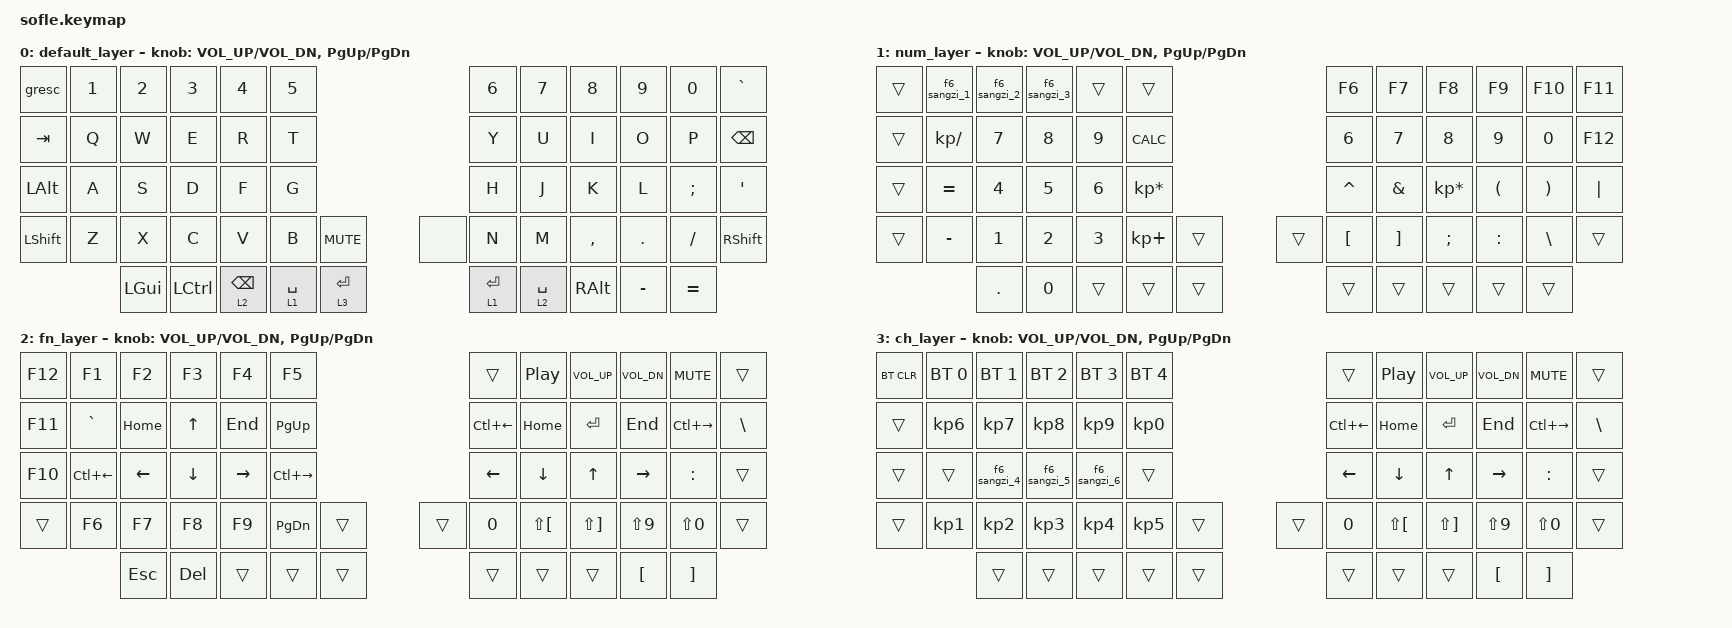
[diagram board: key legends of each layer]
/*
 * Copyright (c) 2020 The ZMK Contributors
 *
 * SPDX-License-Identifier: MIT
 */

#include <behaviors.dtsi>
#include <dt-bindings/zmk/keys.h>
#include <dt-bindings/zmk/bt.h>

&mt {
	quick-tap-ms = <200>;
	tapping-term-ms = <150>;
};

&lt {
	quick-tap-ms = <200>;
	tapping-term-ms = <150>;
};

/ {
    behaviors {
        pht: positional_hold_tap {
            compatible = "zmk,behavior-hold-tap";
            label = "POSITIONAL_HOLD_TAP";
            #binding-cells = <2>;
            flavor = "hold-preferred";
            tapping-term-ms = <400>;
            quick-tap-ms = <200>;
            bindings = <&kp>, <&kp>;
            hold-trigger-key-positions = <1>;
        };
        lh_pht: left_hand_positional_hold_tap {
            compatible = "zmk,behavior-hold-tap";
            label = "POSITIONAL_HOLD_TAP2";
            #binding-cells = <2>;
            flavor = "tap-unless-interrupted";
            tapping-term-ms = <100>;
            quick-tap-ms = <200>;
            bindings = <&kp>, <&kp>;
            hold-trigger-key-positions = <5 6 7 8 9 10>;
        };
        hm: homerow_mods {
            compatible = "zmk,behavior-hold-tap";
            label = "HOMEROW_MODS";
            #binding-cells = <2>;
            tapping-term-ms = <1000>;
            quick-tap-ms = <0>;
            flavor = "tap-preferred";
            bindings = <&kp>, <&kp>;
        };
        bhm: balanced_homerow_mods{
            compatible = "zmk,behavior-hold-tap";
            label = "HOMEROW_MODS";
            #binding-cells = <2>;
            tapping-term-ms = <1000>;
            quick-tap-ms = <0>;
            flavor = "balanced";
            bindings = <&kp>, <&kp>;
        };
        gresc: grave_escape {
            compatible = "zmk,behavior-mod-morph";
            label = "GRAVE_ESCAPE";
            #binding-cells = <0>;
            bindings = <&kp ESC>, <&kp TILDE>;
            mods = <(MOD_LSFT|MOD_RSFT)>;
        };
    };

    macros {
        zed_em_kay: zed_em_kay {
            label = "ZM_zed_em_kay";
            compatible = "zmk,behavior-macro";
            #binding-cells = <0>;
            bindings
                = <&macro_press &kp LSHFT>
                , <&macro_tap &kp Z &kp M &kp K>
                , <&macro_release &kp LSHFT>
                ;
        };
        f6_sangzi_1: f6_sangzi_1 {
            label = "f6_sangzi_1";
            compatible = "zmk,behavior-macro";
            #binding-cells = <0>;
            bindings
                = <&macro_wait_time 15>
                , <&macro_tap &kp KP_N1>
                , <&macro_tap &kp F6 &kp N3 &kp N1 &kp N5>
                , <&macro_wait_time 1700>
                , <&macro_tap &kp N2>
                , <&macro_tap &kp KP_N2>
                , <&macro_wait_time 15>
                ;
        };
        f6_sangzi_2: f6_sangzi_2 {
            label = "f6_sangzi_2";
            compatible = "zmk,behavior-macro";
            #binding-cells = <0>;
            bindings
                = <&macro_wait_time 15>
                , <&macro_tap &kp KP_N1>
                , <&macro_tap &kp F6 &kp N5 &kp N2 &kp N3>
                , <&macro_wait_time 1700>
                , <&macro_tap &kp N1>
                , <&macro_tap &kp KP_N2>
                , <&macro_wait_time 15>
                ;
        };
        f6_sangzi_3: f6_sangzi_3 {
            label = "f6_sangzi_3";
            compatible = "zmk,behavior-macro";
            #binding-cells = <0>;
            bindings
                = <&macro_wait_time 15>
                , <&macro_tap &kp KP_N1>
                , <&macro_tap &kp F6 &kp N2>
                , <&macro_wait_time 1700>
                , <&macro_tap &kp N4>
                , <&macro_tap &kp KP_N2>
                , <&macro_wait_time 15>
                ;
        };
        f6_sangzi_4: f6_sangzi_4 {
            label = "f6_sangzi_4";
            compatible = "zmk,behavior-macro";
            #binding-cells = <0>;
            bindings
                = <&macro_wait_time 15>
                , <&macro_tap &kp F6 &kp N3 &kp N1 &kp N5 &kp N2>
                ;
        };
        f6_sangzi_5: f6_sangzi_5 {
            label = "f6_sangzi_5";
            compatible = "zmk,behavior-macro";
            #binding-cells = <0>;
            bindings
                = <&macro_wait_time 15>
                , <&macro_tap &kp F6 &kp N5 &kp N2 &kp N3 &kp N1>
                ;
        };
        f6_sangzi_6: f6_sangzi_6 {
            label = "f6_sangzi_6";
            compatible = "zmk,behavior-macro";
            #binding-cells = <0>;
            bindings
                = <&macro_wait_time 15>
                , <&macro_tap &kp F6 &kp N2 &kp N4>
                ;
        };
    };

    keymap {
        compatible = "zmk,keymap";

        default_layer {
// ------------------------------------------------------------------------------------------------------------
// |  `    |  1  |  2  |  3   |  4   |  5   |                   |  6   |  7    |  8    |  9   |   0   |       |
// |  ESC  |  Q  |  W  |  E   |  R   |  T   |                   |  Y   |  U    |  I    |  O   |   P   | BKSPC |
// |  TAB  |  A  |  S  |  D   |  F   |  G   |                   |  H   |  J    |  K    |  L   |   ;   |   '   |
// | SHIFT |  Z  |  X  |  C   |  V   |  B   |  MUTE  |  |       |  N   |  M    |  ,    |  .   |   /   | SHIFT |
//               | GUI | ALT  | CTRL | LOWER|  ENTER |  | SPACE | RAISE| CTRL  | ALT   | GUI  |
            bindings = <
&gresc    &kp N1 &kp N2   &kp N3   &kp N4    &kp N5                             &kp N6 &kp N7    &kp N8    &kp N9   &kp N0   &kp GRAVE
&kp TAB   &kp Q  &kp W    &kp E    &kp R     &kp T                              &kp Y  &kp U     &kp I     &kp O    &kp P    &kp BSPC
&kp LALT  &kp A  &kp S    &kp D    &kp F     &kp G                              &kp H  &kp J     &kp K     &kp L    &kp SEMI &kp SQT
&kp LSHFT &kp Z  &kp X    &kp C    &kp V     &kp B  &kp C_MUTE           &none  &kp N  &kp M     &kp COMMA &kp DOT  &kp FSLH &kp RSHFT
                 &kp LGUI  &kp LCTRL &lt 2 BSPC &lt 1 SPACE &lt 3 RET      &lt 1 RET &lt 2 SPACE &kp RALT  &kp MINUS &kp EQUAL
            >;

            sensor-bindings = <&inc_dec_kp C_VOL_UP C_VOL_DN &inc_dec_kp PG_UP PG_DN>;
        };

        num_layer {
// TODO: Some binds are waiting for shifted keycode support.
// ------------------------------------------------------------------------------------------------------------
// |       |  F1 |  F2 |  F3  |  F4  |  F5  |                   |  F6  |  F7   |  F8   |  F9  |  F10  |  F11  |
// | `     |   1 |   2 |   3  |   4  |   5  |                   |   6  |   7   |   8   |   9  |    0  |  F12  |
// |       |  !  |  @  |  #   |  $   |  %   |                   |  ^   |  &    |  *    |  (   |   )   |   |   |
// |       |  =  |  -  |  +   |  {   |  }   |        |  |       |  [   |  ]    |  ;    |  :   |   \   |       |
//               |     |      |      |      |        |  |       |      |       |       |      |
            bindings = <
&trans    &f6_sangzi_1   &f6_sangzi_2    &f6_sangzi_3    &trans  &trans                             &kp F6    &kp F7   &kp F8          &kp F9    &kp F10   &kp F11
&trans    &kp KP_SLASH  &kp N7    &kp N8    &kp N9  &kp K_CALC                     &kp N6    &kp N7   &kp N8          &kp N9    &kp N0    &kp F12
&trans    &kp EQUAL &kp N4    &kp N5    &kp N6  &kp KP_ASTERISK                    &kp CARET &kp AMPS &kp KP_MULTIPLY &kp LPAR  &kp RPAR  &kp PIPE
&trans    &kp MINUS &kp N1    &kp N2    &kp N3  &kp KP_PLUS   &trans       &trans  &kp LBKT  &kp RBKT &kp SEMI        &kp COLON &kp BSLH  &trans
                    &kp DOT   &kp N0    &trans  &trans        &trans       &trans  &trans    &trans   &trans          &trans
            >;

            sensor-bindings = <&inc_dec_kp C_VOL_UP C_VOL_DN &inc_dec_kp PG_UP PG_DN>;
        };

        fn_layer {
// ------------------------------------------------------------------------------------------------------------
// |BTCLR| BT1  | BT2  |  BT3  |  BT4  |  BT5 |                |      |      |       |      |       |       |
// |     | INS  | PSCR | GUI   |       |      |                | PGUP |      |   ^   |      |       |       |
// |     | ALT  | CTRL | SHIFT |       | CAPS |                | PGDN |   <- |   v   |  ->  |  DEL  | BKSPC |
// |     | UNDO | CUT  | COPY  | PASTE |      |      |  |      |      |      |       |      |       |       |
//              |      |       |       |      |      |  |      |      |      |       |      |
            bindings = <
&kp F12    &kp F1       &kp F2      &kp F3      &kp F4     &kp F5                              &trans    &kp C_PP  &kp C_VOL_UP   &kp C_VOL_DN    &kp C_MUTE  &trans
&kp F11    &kp GRAVE    &kp HOME    &kp UP      &kp END    &kp PG_UP                           &kp LC(LEFT)   &kp HOME  &kp RET  &kp END      &kp LC(RIGHT)  &kp BSLH
&kp F10    &kp LC(LEFT) &kp LEFT    &kp DOWN    &kp RIGHT  &kp LC(RIGHT)                       &kp LEFT  &kp DOWN  &kp UP   &kp RIGHT &kp COLON &trans
&trans     &kp F6       &kp F7      &kp F8      &kp F9     &kp PG_DN      &trans       &trans  &kp N0    &kp LS(LBKT) &kp LS(RBKT)   &kp LS(N9)    &kp LS(N0)  &trans
                        &kp ESC     &kp DEL     &trans     &trans         &trans       &trans  &trans    &trans    &kp LBKT   &kp RBKT
            >;

            sensor-bindings = <&inc_dec_kp C_VOL_UP C_VOL_DN &inc_dec_kp PG_UP PG_DN>;
        };

        ch_layer {
// ------------------------------------------------------------------------------------------------------------
// |BTCLR| BT1  | BT2  |  BT3  |  BT4  |  BT5 |                |      |      |       |      |       |       |
// |     | INS  | PSCR | GUI   |       |      |                | PGUP |      |   ^   |      |       |       |
// |     | ALT  | CTRL | SHIFT |       | CAPS |                | PGDN |   <- |   v   |  ->  |  DEL  | BKSPC |
// |     | UNDO | CUT  | COPY  | PASTE |      |      |  |      |      |      |       |      |       |       |
//              |      |       |       |      |      |  |      |      |      |       |      |
            bindings = <
&bt BT_CLR &bt BT_SEL 0 &bt BT_SEL 1 &bt BT_SEL 2 &bt BT_SEL 3 &bt BT_SEL 4                  &trans    &kp C_PP  &kp C_VOL_UP   &kp C_VOL_DN    &kp C_MUTE  &trans
&trans     &kp KP_N6   &kp KP_N7      &kp KP_N8      &kp KP_N9     &kp KP_N0              &kp LC(LEFT)   &kp HOME  &kp RET  &kp END      &kp LC(RIGHT)  &kp BSLH
&trans     &trans      &f6_sangzi_4   &f6_sangzi_5   &f6_sangzi_6    &trans                       &kp LEFT  &kp DOWN  &kp UP   &kp RIGHT &kp COLON &trans
&trans     &kp KP_N1   &kp KP_N2   &kp KP_N3   &kp KP_N4  &kp KP_N5  &trans          &trans  &kp N0    &kp LS(LBKT) &kp LS(RBKT)   &kp LS(N9)    &kp LS(N0)  &trans
                       &trans      &trans      &trans     &trans     &trans          &trans  &trans    &trans    &kp LBKT   &kp RBKT
            >;

            sensor-bindings = <&inc_dec_kp C_VOL_UP C_VOL_DN &inc_dec_kp PG_UP PG_DN>;
        };
    };
};
